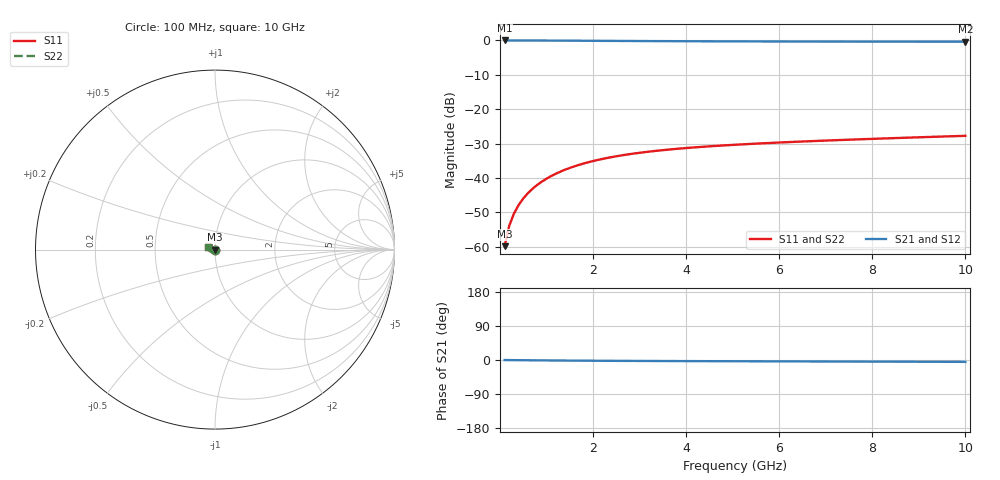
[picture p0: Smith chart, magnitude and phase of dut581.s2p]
! Touchstone file exported from HFSS 2024.1.0
!  File:  C:/UserFiles/LocalFiles/RDL_TSV_Batchsim/temp_TSV1_581_1779709119.aedt
!  Generated:  07:44:23 PM May 25, 2026
!  Design:  TSV1
!  Project:  temp_TSV1_581_1779709119
!  Setup:  Setup1
!  Solution:  Sweep
! Variables:
!  dtsv = 9.72um
!  hbump = 3um
!  htsv = 72.78um
!  lrdl = 252.1521522um
!  p = 40
!  p1 = 59.2um
!  t = 500um
!  trdl = 3um
!  wrdl = 24.89489489um
# GHz S MA R 50.000000
! Terminal data exported
! Port[1] = TSV22_T1
! Port[2] = TSV22_T2
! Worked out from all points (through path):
!   100 points, 100 MHz to 10 GHz, reference 50 ohm
!   highest |S21| = 0.00 dB at 100 MHz (marker M1); lowest = -0.4 dB at 10 GHz (marker M2)
!   lowest |S11| = -59.9 dB at 100 MHz (marker M3), VSWR 1.00, Z = 50 - j0.101 ohm
!   |S11| at or under -10 dB: start of sweep to end of sweep
!   |S22| runs from -59.9 to -27.8 dB; largest |S21 - S12| = 5.3e-15
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0.1  0.001015 -84.1  0.9998 -0.1  0.9998 -0.1  0.001015 -84.1
! Gamma 0 0 0 0
! Port Impedance 50 0 50 0
0.2  0.002017 -90.1  0.9997 -0.2  0.9997 -0.2  0.002017 -90.1
0.3  0.00302 -93.6  0.9995 -0.4  0.9995 -0.4  0.00302 -93.6
0.4  0.00402 -96.4  0.9992 -0.5  0.9992 -0.5  0.00402 -96.4
0.5  0.00501 -99.0  0.9988 -0.6  0.9988 -0.6  0.00501 -99.0
0.6  0.005989 -101.4  0.9984 -0.7  0.9984 -0.7  0.005989 -101.4
0.7  0.006953 -103.7  0.998 -0.8  0.998 -0.8  0.006953 -103.7
0.8  0.0079 -106.0  0.9974 -0.9  0.9974 -0.9  0.0079 -106.0
0.9  0.00883 -108.2  0.9968 -1.0  0.9968 -1.0  0.00883 -108.2
1.1  0.01063 -112.4  0.9955 -1.2  0.9955 -1.2  0.01063 -112.4
1.4  0.01316 -118.5  0.9933 -1.5  0.9933 -1.5  0.01316 -118.5
1.6  0.01473 -122.3  0.9917 -1.6  0.9917 -1.6  0.01473 -122.3
1.8  0.0162 -126.0  0.99 -1.8  0.99 -1.8  0.0162 -126.0
2.1  0.01824 -131.2  0.9875 -2.0  0.9875 -2.0  0.01824 -131.2
2.5  0.02063 -137.7  0.9843 -2.3  0.9843 -2.3  0.02063 -137.7
2.9  0.02271 -143.6  0.9812 -2.5  0.9812 -2.5  0.02271 -143.6
3.4  0.02494 -150.3  0.9778 -2.7  0.9778 -2.7  0.02494 -150.3
4.2  0.02785 -159.7  0.9732 -3.0  0.9732 -3.0  0.02785 -159.7
5.1  0.03048 -168.7  0.9692 -3.3  0.9692 -3.3  0.03048 -168.7
6.7  0.03427 178.3  0.9642 -3.8  0.9642 -3.8  0.03427 178.3
8.4  0.03777 167.3  0.9609 -4.4  0.9609 -4.4  0.03777 167.3
10  0.04094 158.8  0.9588 -4.9  0.9588 -4.9  0.04094 158.8
